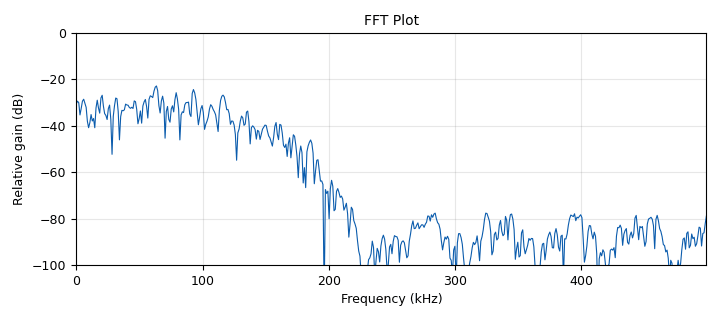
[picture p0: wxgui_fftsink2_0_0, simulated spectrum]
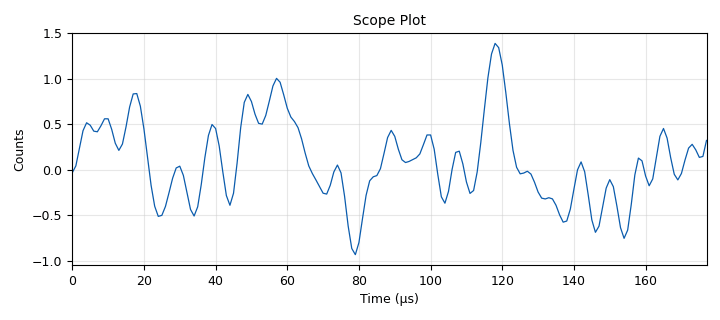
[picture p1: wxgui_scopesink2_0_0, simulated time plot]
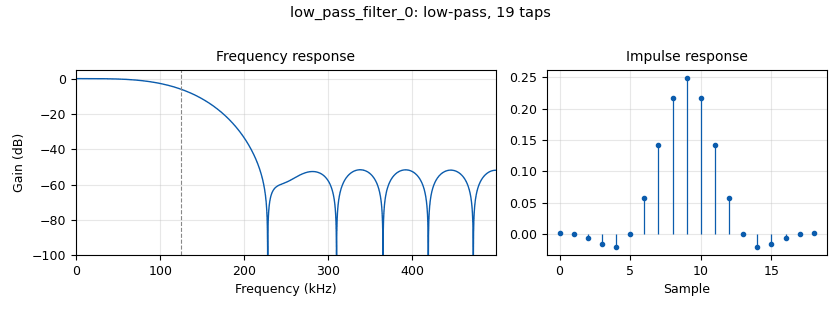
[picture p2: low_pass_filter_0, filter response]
<?xml version='1.0' encoding='utf-8'?>
<?grc format='1' created='3.7.10'?>
<flow_graph>
<block>
<key>options</key>
<param><key>id</key><value>top_block</value></param>
<param><key>category</key><value>Custom</value></param>
<param><key>generate_options</key><value>wx_gui</value></param>
</block>
<block>
<key>variable_slider</key>
<param><key>id</key><value>high_cutoff_freq</value></param>
<param><key>converver</key><value>float_converter</value></param>
<param><key>value</key><value>samp_rate/4</value></param>
<param><key>label</key><value></value></param>
<param><key>max</key><value>samp_rate/2</value></param>
<param><key>min</key><value>-samp_rate/2</value></param>
<param><key>num_steps</key><value>1000</value></param>
<param><key>style</key><value>wx.SL_HORIZONTAL</value></param>
</block>
<block>
<key>variable_slider</key>
<param><key>id</key><value>low_cutoff_freq</value></param>
<param><key>converver</key><value>float_converter</value></param>
<param><key>value</key><value>samp_rate/8</value></param>
<param><key>label</key><value></value></param>
<param><key>max</key><value>samp_rate/2</value></param>
<param><key>min</key><value>-samp_rate/2</value></param>
<param><key>num_steps</key><value>1000</value></param>
<param><key>style</key><value>wx.SL_HORIZONTAL</value></param>
</block>
<block>
<key>variable</key>
<param><key>id</key><value>samp_rate</value></param>
<param><key>value</key><value>1e6</value></param>
</block>
<block>
<key>variable_slider</key>
<param><key>id</key><value>tap_0</value></param>
<param><key>converver</key><value>float_converter</value></param>
<param><key>value</key><value>1</value></param>
<param><key>label</key><value></value></param>
<param><key>max</key><value>1</value></param>
<param><key>min</key><value>-1</value></param>
<param><key>num_steps</key><value>1000</value></param>
<param><key>style</key><value>wx.SL_HORIZONTAL</value></param>
</block>
<block>
<key>variable_slider</key>
<param><key>id</key><value>tap_1</value></param>
<param><key>converver</key><value>float_converter</value></param>
<param><key>value</key><value>1</value></param>
<param><key>label</key><value></value></param>
<param><key>max</key><value>1</value></param>
<param><key>min</key><value>-1</value></param>
<param><key>num_steps</key><value>1000</value></param>
<param><key>style</key><value>wx.SL_HORIZONTAL</value></param>
</block>
<block>
<key>variable_slider</key>
<param><key>id</key><value>tap_2</value></param>
<param><key>converver</key><value>float_converter</value></param>
<param><key>value</key><value>1</value></param>
<param><key>label</key><value></value></param>
<param><key>max</key><value>1</value></param>
<param><key>min</key><value>-1</value></param>
<param><key>num_steps</key><value>1000</value></param>
<param><key>style</key><value>wx.SL_HORIZONTAL</value></param>
</block>
<block>
<key>variable_slider</key>
<param><key>id</key><value>transition_width</value></param>
<param><key>converver</key><value>float_converter</value></param>
<param><key>value</key><value>samp_rate/8</value></param>
<param><key>label</key><value></value></param>
<param><key>max</key><value>samp_rate/2</value></param>
<param><key>min</key><value>samp_rate/1000</value></param>
<param><key>num_steps</key><value>1000</value></param>
<param><key>style</key><value>wx.SL_HORIZONTAL</value></param>
</block>
<block>
<key>analog_noise_source_x</key>
<param><key>id</key><value>analog_noise_source_x_0</value></param>
<param><key>amp</key><value>1</value></param>
<param><key>noise_type</key><value>analog.GR_GAUSSIAN</value></param>
<param><key>type</key><value>float</value></param>
<param><key>seed</key><value>0</value></param>
</block>
<block>
<key>blocks_add_xx</key>
<param><key>id</key><value>blocks_add_xx_0</value></param>
<param><key>_enabled</key><value>0</value></param>
<param><key>type</key><value>float</value></param>
<param><key>num_inputs</key><value>3</value></param>
</block>
<block>
<key>blocks_delay</key>
<param><key>id</key><value>blocks_delay_0</value></param>
<param><key>delay</key><value>1</value></param>
<param><key>_enabled</key><value>0</value></param>
<param><key>type</key><value>float</value></param>
</block>
<block>
<key>blocks_delay</key>
<param><key>id</key><value>blocks_delay_0_0</value></param>
<param><key>delay</key><value>2</value></param>
<param><key>_enabled</key><value>0</value></param>
<param><key>type</key><value>float</value></param>
</block>
<block>
<key>blocks_multiply_const_vxx</key>
<param><key>id</key><value>blocks_multiply_const_vxx_0_1</value></param>
<param><key>const</key><value>tap_1</value></param>
<param><key>_enabled</key><value>0</value></param>
<param><key>type</key><value>float</value></param>
</block>
<block>
<key>blocks_multiply_const_vxx</key>
<param><key>id</key><value>blocks_multiply_const_vxx_0_2</value></param>
<param><key>const</key><value>tap_2</value></param>
<param><key>_enabled</key><value>0</value></param>
<param><key>type</key><value>float</value></param>
</block>
<block>
<key>blocks_throttle</key>
<param><key>id</key><value>blocks_throttle_0</value></param>
<param><key>samples_per_second</key><value>samp_rate</value></param>
<param><key>type</key><value>float</value></param>
</block>
<block>
<key>fir_filter_xxx</key>
<param><key>id</key><value>fir_filter_xxx_0</value></param>
<param><key>decim</key><value>1</value></param>
<param><key>_enabled</key><value>0</value></param>
<param><key>taps</key><value>(tap_0,tap_1,tap_2)</value></param>
<param><key>type</key><value>fff</value></param>
</block>
<block>
<key>low_pass_filter</key>
<param><key>id</key><value>low_pass_filter_0</value></param>
<param><key>cutoff_freq</key><value>low_cutoff_freq</value></param>
<param><key>decim</key><value>1</value></param>
<param><key>type</key><value>fir_filter_fff</value></param>
<param><key>gain</key><value>1</value></param>
<param><key>samp_rate</key><value>samp_rate</value></param>
<param><key>width</key><value>transition_width</value></param>
<param><key>win</key><value>firdes.WIN_HAMMING</value></param>
</block>
<block>
<key>blocks_multiply_const_vxx</key>
<param><key>id</key><value>sfasfdas</value></param>
<param><key>const</key><value>tap_0</value></param>
<param><key>_enabled</key><value>0</value></param>
<param><key>type</key><value>float</value></param>
</block>
<block>
<key>wxgui_fftsink2</key>
<param><key>id</key><value>wxgui_fftsink2_0</value></param>
<param><key>avg_alpha</key><value>0</value></param>
<param><key>average</key><value>False</value></param>
<param><key>baseband_freq</key><value>0</value></param>
<param><key>_enabled</key><value>0</value></param>
<param><key>fft_size</key><value>1024</value></param>
<param><key>freqvar</key><value>None</value></param>
<param><key>peak_hold</key><value>False</value></param>
<param><key>ref_level</key><value>0</value></param>
<param><key>ref_scale</key><value>2.0</value></param>
<param><key>fft_rate</key><value>15</value></param>
<param><key>samp_rate</key><value>samp_rate</value></param>
<param><key>title</key><value>FFT Plot</value></param>
<param><key>type</key><value>float</value></param>
<param><key>win</key><value>None</value></param>
<param><key>y_divs</key><value>10</value></param>
<param><key>y_per_div</key><value>10</value></param>
</block>
<block>
<key>wxgui_fftsink2</key>
<param><key>id</key><value>wxgui_fftsink2_0_0</value></param>
<param><key>avg_alpha</key><value>0</value></param>
<param><key>average</key><value>False</value></param>
<param><key>baseband_freq</key><value>0</value></param>
<param><key>fft_size</key><value>1024</value></param>
<param><key>freqvar</key><value>None</value></param>
<param><key>peak_hold</key><value>False</value></param>
<param><key>ref_level</key><value>0</value></param>
<param><key>ref_scale</key><value>2.0</value></param>
<param><key>fft_rate</key><value>15</value></param>
<param><key>samp_rate</key><value>samp_rate</value></param>
<param><key>title</key><value>FFT Plot</value></param>
<param><key>type</key><value>float</value></param>
<param><key>win</key><value>None</value></param>
<param><key>y_divs</key><value>10</value></param>
<param><key>y_per_div</key><value>10</value></param>
</block>
<block>
<key>wxgui_scopesink2</key>
<param><key>id</key><value>wxgui_scopesink2_0</value></param>
<param><key>ac_couple</key><value>False</value></param>
<param><key>_enabled</key><value>0</value></param>
<param><key>num_inputs</key><value>2</value></param>
<param><key>samp_rate</key><value>samp_rate</value></param>
<param><key>t_scale</key><value>0</value></param>
<param><key>title</key><value>Scope Plot</value></param>
<param><key>trig_mode</key><value>wxgui.TRIG_MODE_AUTO</value></param>
<param><key>type</key><value>float</value></param>
<param><key>v_offset</key><value>0</value></param>
<param><key>v_scale</key><value>0</value></param>
<param><key>xy_mode</key><value>False</value></param>
<param><key>y_axis_label</key><value>Counts</value></param>
</block>
<block>
<key>wxgui_scopesink2</key>
<param><key>id</key><value>wxgui_scopesink2_0_0</value></param>
<param><key>ac_couple</key><value>False</value></param>
<param><key>num_inputs</key><value>1</value></param>
<param><key>samp_rate</key><value>samp_rate</value></param>
<param><key>t_scale</key><value>0</value></param>
<param><key>title</key><value>Scope Plot</value></param>
<param><key>trig_mode</key><value>wxgui.TRIG_MODE_AUTO</value></param>
<param><key>type</key><value>float</value></param>
<param><key>v_offset</key><value>0</value></param>
<param><key>v_scale</key><value>0</value></param>
<param><key>xy_mode</key><value>False</value></param>
<param><key>y_axis_label</key><value>Counts</value></param>
</block>
<connection><source_block_id>analog_noise_source_x_0</source_block_id><sink_block_id>blocks_throttle_0</sink_block_id><source_key>0</source_key><sink_key>0</sink_key></connection>
<connection><source_block_id>blocks_add_xx_0</source_block_id><sink_block_id>wxgui_fftsink2_0</sink_block_id><source_key>0</source_key><sink_key>0</sink_key></connection>
<connection><source_block_id>blocks_add_xx_0</source_block_id><sink_block_id>wxgui_scopesink2_0</sink_block_id><source_key>0</source_key><sink_key>0</sink_key></connection>
<connection><source_block_id>blocks_delay_0</source_block_id><sink_block_id>blocks_add_xx_0</sink_block_id><source_key>0</source_key><sink_key>1</sink_key></connection>
<connection><source_block_id>blocks_delay_0_0</source_block_id><sink_block_id>blocks_add_xx_0</sink_block_id><source_key>0</source_key><sink_key>2</sink_key></connection>
<connection><source_block_id>blocks_multiply_const_vxx_0_1</source_block_id><sink_block_id>blocks_delay_0</sink_block_id><source_key>0</source_key><sink_key>0</sink_key></connection>
<connection><source_block_id>blocks_multiply_const_vxx_0_2</source_block_id><sink_block_id>blocks_delay_0_0</sink_block_id><source_key>0</source_key><sink_key>0</sink_key></connection>
<connection><source_block_id>blocks_throttle_0</source_block_id><sink_block_id>blocks_multiply_const_vxx_0_1</sink_block_id><source_key>0</source_key><sink_key>0</sink_key></connection>
<connection><source_block_id>blocks_throttle_0</source_block_id><sink_block_id>blocks_multiply_const_vxx_0_2</sink_block_id><source_key>0</source_key><sink_key>0</sink_key></connection>
<connection><source_block_id>blocks_throttle_0</source_block_id><sink_block_id>fir_filter_xxx_0</sink_block_id><source_key>0</source_key><sink_key>0</sink_key></connection>
<connection><source_block_id>blocks_throttle_0</source_block_id><sink_block_id>low_pass_filter_0</sink_block_id><source_key>0</source_key><sink_key>0</sink_key></connection>
<connection><source_block_id>blocks_throttle_0</source_block_id><sink_block_id>sfasfdas</sink_block_id><source_key>0</source_key><sink_key>0</sink_key></connection>
<connection><source_block_id>fir_filter_xxx_0</source_block_id><sink_block_id>wxgui_scopesink2_0</sink_block_id><source_key>0</source_key><sink_key>1</sink_key></connection>
<connection><source_block_id>low_pass_filter_0</source_block_id><sink_block_id>wxgui_fftsink2_0_0</sink_block_id><source_key>0</source_key><sink_key>0</sink_key></connection>
<connection><source_block_id>low_pass_filter_0</source_block_id><sink_block_id>wxgui_scopesink2_0_0</sink_block_id><source_key>0</source_key><sink_key>0</sink_key></connection>
<connection><source_block_id>sfasfdas</source_block_id><sink_block_id>blocks_add_xx_0</sink_block_id><source_key>0</source_key><sink_key>0</sink_key></connection>
</flow_graph>
